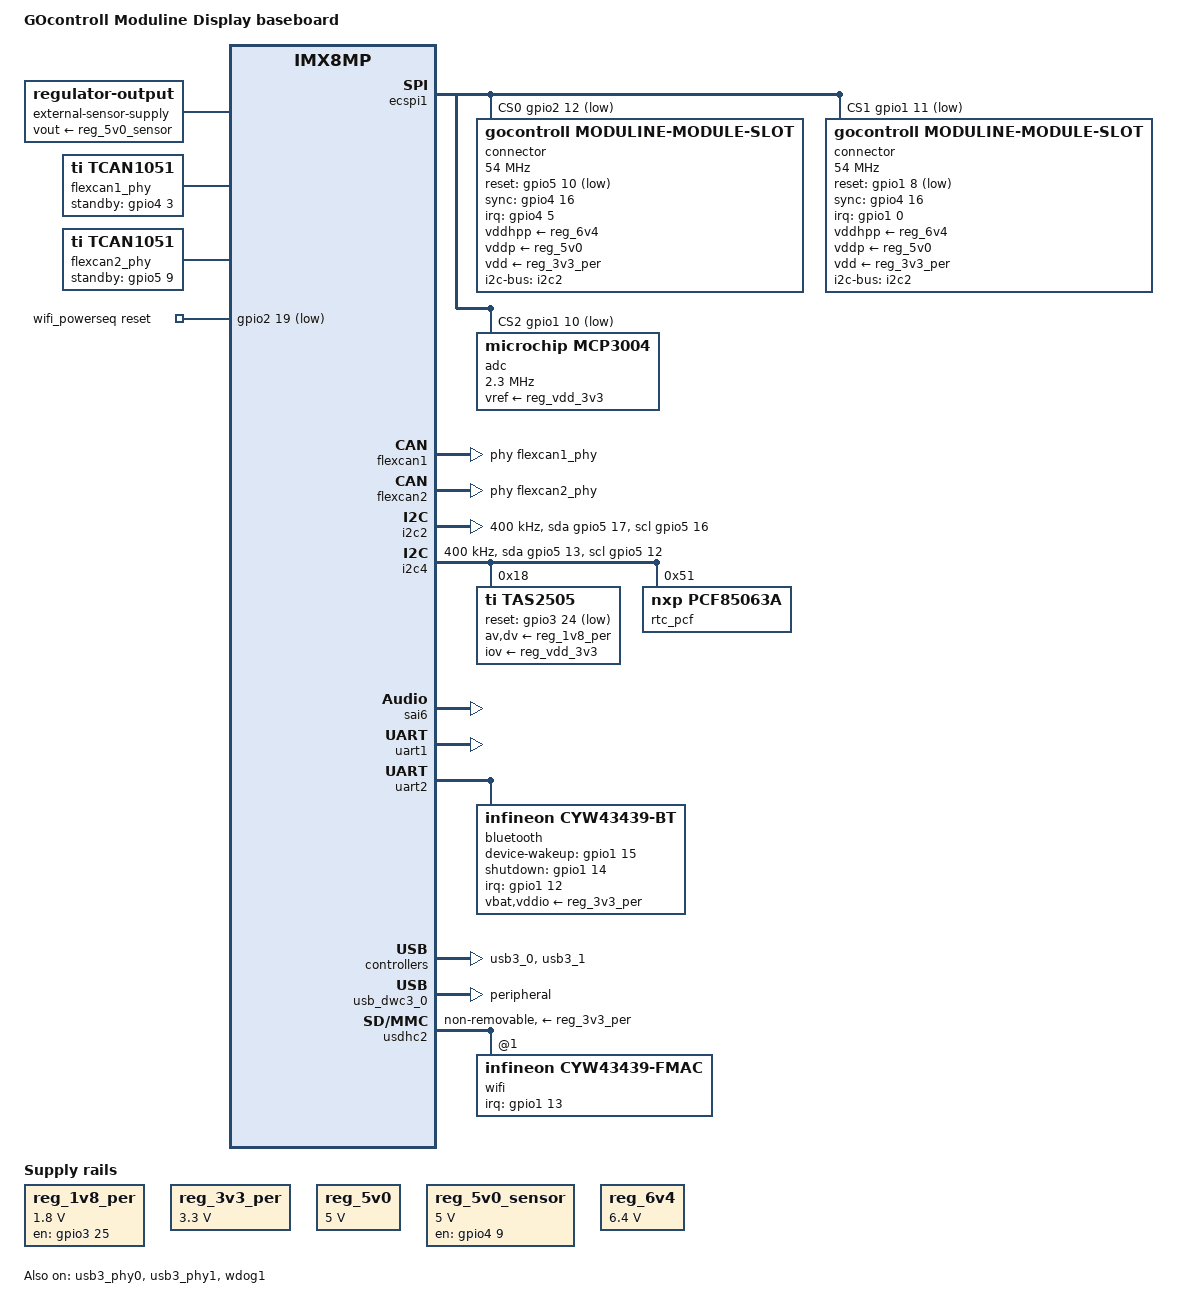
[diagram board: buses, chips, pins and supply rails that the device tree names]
// SPDX-License-Identifier: (GPL-2.0 OR MIT)
/*
 * Copyright 2025 GOcontroll B.V.
 * Author: Maud Spierings <maudspierings@gocontroll.com>
 */

/dts-v1/;

#include "imx8mp-tx8p-ml81.dtsi"

/ {
	compatible = "gocontroll,moduline-display", "fsl,imx8mp";
	chassis-type = "embedded";
	hardware = "Moduline Display V1.06";
	model = "GOcontroll Moduline Display baseboard";

	aliases {
		can0 = &flexcan1;
		can1 = &flexcan2;
		ethernet0 = &eqos;
		ethernet1 = &fec;
		mmc0 = &usdhc3;
		mmc1 = &usdhc2;
		rtc0 = &rtc_pcf; /* i2c rtc is the main rtc */
		rtc1 = &snvs_rtc;
		spi0 = &ecspi2; /* spidev number compatibility */
		spi1 = &ecspi1; /* spidev number compatibility */
	};

	chosen {
		stdout-path = "serial0:115200n8";
	};

	external-sensor-supply {
		compatible = "regulator-output";
		vout-supply = <&reg_5v0_sensor>;
	};

	flexcan1_phy: can-phy0 {
		compatible = "ti,tcan1051", "ti,tcan1042";
		#phy-cells = <0>;
		pinctrl-0 = <&pinctrl_flexcan1_stby>;
		pinctrl-names = "default";
		max-bitrate = <5000000>;
		standby-gpios = <&gpio4 3 GPIO_ACTIVE_HIGH>;
	};

	flexcan2_phy: can-phy1 {
		compatible = "ti,tcan1051", "ti,tcan1042";
		#phy-cells = <0>;
		pinctrl-0 = <&pinctrl_flexcan2_stby>;
		pinctrl-names = "default";
		max-bitrate = <5000000>;
		standby-gpios = <&gpio5 9 GPIO_ACTIVE_HIGH>;
	};

	reg_1v8_per: regulator-1v8-per {
		compatible = "regulator-fixed";
		pinctrl-0 = <&pinctrl_reg_1v8>;
		pinctrl-names = "default";
		power-supply = <&reg_3v3_per>;
		regulator-max-microvolt = <1800000>;
		regulator-min-microvolt = <1800000>;
		regulator-name = "1v8-per";
		gpio = <&gpio3 25 GPIO_ACTIVE_HIGH>;
		enable-active-high;
	};

	reg_3v3_per: regulator-3v3-per {
		compatible = "regulator-fixed";
		power-supply = <&reg_6v4>;
		regulator-always-on;
		regulator-max-microvolt = <3300000>;
		regulator-min-microvolt = <3300000>;
		regulator-name = "3v3-per";
	};

	reg_5v0: regulator-5v0 {
		compatible = "regulator-fixed";
		power-supply = <&reg_6v4>;
		regulator-always-on;
		regulator-max-microvolt = <5000000>;
		regulator-min-microvolt = <5000000>;
		regulator-name = "5v0";
	};

	reg_5v0_sensor: regulator-5v0-sensor {
		compatible = "regulator-fixed";
		pinctrl-0 = <&pinctrl_reg_5v0_sensor>;
		pinctrl-names = "default";
		regulator-max-microvolt = <5000000>;
		regulator-min-microvolt = <5000000>;
		regulator-name = "5v0-supply-external-sensor";
		gpio = <&gpio4 9 GPIO_ACTIVE_HIGH>;
		enable-active-high;
	};

	reg_6v4: regulator-6v4 {
		compatible = "regulator-fixed";
		regulator-always-on;
		regulator-max-microvolt = <6400000>;
		regulator-min-microvolt = <6400000>;
		regulator-name = "6v4";
	};

	sound {
		compatible = "simple-audio-card";
		simple-audio-card,bitclock-master = <&cpudai>;
		simple-audio-card,format = "i2s";
		simple-audio-card,frame-master = <&cpudai>;
		simple-audio-card,name = "tas2505-audio";
		simple-audio-card,routing = "Speaker", "DAC";
		simple-audio-card,widgets = "Speaker", "Speaker External";

		simple-audio-card,codec {
			sound-dai = <&tas2505>;
		};

		cpudai: simple-audio-card,cpu {
			sound-dai = <&sai6>;
		};
	};

	wifi_powerseq: wifi-powerseq {
		compatible = "mmc-pwrseq-simple";
		pinctrl-0 = <&pinctrl_wl_reg>;
		pinctrl-names = "default";
		post-power-on-delay-ms = <100>;
		power-off-delay-us = <500000>;
		reset-gpios = <&gpio2 19 GPIO_ACTIVE_LOW>;
	};
};

&ecspi1 {
	cs-gpios = <&gpio2 12 GPIO_ACTIVE_LOW>,
		   <&gpio1 11 GPIO_ACTIVE_LOW>,
		   <&gpio1 10 GPIO_ACTIVE_LOW>;
	pinctrl-0 = <&pinctrl_ecspi1>;
	pinctrl-names = "default";
	status = "okay";

	connector@0 {
		compatible = "gocontroll,moduline-module-slot";
		reg = <0>;
		interrupt-parent = <&gpio4>;
		interrupts = <5 IRQ_TYPE_EDGE_FALLING>;
		i2c-bus = <&i2c2>;
		reset-gpios = <&gpio5 10 GPIO_ACTIVE_LOW>;
		slot-number = <1>;
		spi-max-frequency = <54000000>;
		sync-gpios = <&gpio4 16 GPIO_ACTIVE_HIGH>;
		vddhpp-supply = <&reg_6v4>;
		vddp-supply = <&reg_5v0>;
		vdd-supply = <&reg_3v3_per>;
	};

	connector@1 {
		compatible = "gocontroll,moduline-module-slot";
		reg = <1>;
		interrupt-parent = <&gpio1>;
		interrupts = <0 IRQ_TYPE_EDGE_FALLING>;
		i2c-bus = <&i2c2>;
		reset-gpios = <&gpio1 8 GPIO_ACTIVE_LOW>;
		slot-number = <2>;
		spi-max-frequency = <54000000>;
		sync-gpios = <&gpio4 16 GPIO_ACTIVE_HIGH>;
		vddhpp-supply = <&reg_6v4>;
		vddp-supply = <&reg_5v0>;
		vdd-supply = <&reg_3v3_per>;
	};

	adc@2 {
		compatible = "microchip,mcp3004";
		reg = <2>;
		spi-max-frequency = <2300000>;
		vref-supply = <&reg_vdd_3v3>;
	};
};

&flexcan1 {
	phys = <&flexcan1_phy>;
	pinctrl-0 = <&pinctrl_flexcan1>;
	pinctrl-names = "default";
	status = "okay";
};

&flexcan2 {
	phys = <&flexcan2_phy>;
	pinctrl-0 = <&pinctrl_flexcan2>;
	pinctrl-names = "default";
	status = "okay";
};

&i2c2 {
	clock-frequency = <400000>;
	pinctrl-0 = <&pinctrl_i2c2>;
	pinctrl-1 = <&pinctrl_i2c2_gpio>;
	pinctrl-names = "default", "gpio";
	scl-gpios = <&gpio5 16 (GPIO_ACTIVE_HIGH | GPIO_OPEN_DRAIN)>;
	sda-gpios = <&gpio5 17 (GPIO_ACTIVE_HIGH | GPIO_OPEN_DRAIN)>;
	status = "okay";
};

&i2c4 {
	clock-frequency = <400000>;
	pinctrl-0 = <&pinctrl_i2c4>;
	pinctrl-1 = <&pinctrl_i2c4_gpio>;
	pinctrl-names = "default", "gpio";
	scl-gpios = <&gpio5 12 (GPIO_ACTIVE_HIGH | GPIO_OPEN_DRAIN)>;
	sda-gpios = <&gpio5 13 (GPIO_ACTIVE_HIGH | GPIO_OPEN_DRAIN)>;
	status = "okay";

	tas2505: audio-codec@18 {
		compatible = "ti,tas2505";
		reg = <0x18>;
		clocks = <&clk IMX8MP_CLK_AUDIOMIX_SAI6_MCLK1>;
		clock-names = "mclk";
		#sound-dai-cells = <0>;
		aic32x4-gpio-func = <0xff 0xff 0xff 0xff 0xff>;
		av-supply = <&reg_1v8_per>;
		dv-supply = <&reg_1v8_per>;
		iov-supply = <&reg_vdd_3v3>;
		pinctrl-0 = <&pinctrl_tas_reset>;
		pinctrl-names = "default";
		reset-gpios = <&gpio3 24 GPIO_ACTIVE_LOW>;
	};

	rtc_pcf: rtc@51 {
		compatible = "nxp,pcf85063a";
		reg = <0x51>;
		quartz-load-femtofarads = <7000>;

		clock {
			compatible = "fixed-clock";
			#clock-cells = <0>;
			clock-frequency = <32768>;
		};
	};
};

&iomuxc {
	pinctrl_bt: btgrp {
		fsl,pins = <
			MX8MP_IOMUXC_GPIO1_IO14__GPIO1_IO14
				MX8MP_DSE_X1
			MX8MP_IOMUXC_GPIO1_IO12__GPIO1_IO12
				(MX8MP_PULL_UP | MX8MP_PULL_ENABLE | MX8MP_HYS_SCHMITT)
			MX8MP_IOMUXC_GPIO1_IO15__GPIO1_IO15
				MX8MP_DSE_X1
		>;
	};

	pinctrl_ecspi1: ecspi1grp {
		fsl,pins = <
			MX8MP_IOMUXC_ECSPI1_MOSI__ECSPI1_MOSI
				MX8MP_DSE_X4
			MX8MP_IOMUXC_ECSPI1_MISO__ECSPI1_MISO
				(MX8MP_DSE_X4 | MX8MP_HYS_SCHMITT)
			MX8MP_IOMUXC_ECSPI1_SCLK__ECSPI1_SCLK
				MX8MP_DSE_X4
			MX8MP_IOMUXC_SD2_CD_B__GPIO2_IO12
				MX8MP_DSE_X1
			MX8MP_IOMUXC_GPIO1_IO11__GPIO1_IO11
				MX8MP_DSE_X1
			MX8MP_IOMUXC_GPIO1_IO10__GPIO1_IO10
				MX8MP_DSE_X1
		>;
	};

	pinctrl_flexcan1: flexcan1grp {
		fsl,pins = <
			 MX8MP_IOMUXC_SPDIF_RX__CAN1_RX
				 (MX8MP_DSE_X2 | MX8MP_FSEL_FAST | MX8MP_PULL_UP | MX8MP_PULL_ENABLE)
			 MX8MP_IOMUXC_SPDIF_TX__CAN1_TX
				 (MX8MP_DSE_X2 | MX8MP_FSEL_FAST | MX8MP_PULL_UP | MX8MP_PULL_ENABLE)
		>;
	};

	pinctrl_flexcan1_stby: flexcan1stbygrp {
		fsl,pins = <
			MX8MP_IOMUXC_SAI1_RXD1__GPIO4_IO03
				(MX8MP_DSE_X2 | MX8MP_FSEL_FAST | MX8MP_PULL_UP | MX8MP_PULL_ENABLE)
		>;
	};

	pinctrl_flexcan2: flexcan2grp {
		fsl,pins = <
			MX8MP_IOMUXC_UART3_TXD__CAN2_RX
				(MX8MP_DSE_X2 | MX8MP_FSEL_FAST | MX8MP_PULL_UP | MX8MP_PULL_ENABLE)
			MX8MP_IOMUXC_UART3_RXD__CAN2_TX
				(MX8MP_DSE_X2 | MX8MP_FSEL_FAST | MX8MP_PULL_UP | MX8MP_PULL_ENABLE)
		>;
	};

	pinctrl_flexcan2_stby: flexcan2stbygrp {
		fsl,pins = <
			MX8MP_IOMUXC_ECSPI1_SS0__GPIO5_IO09
				(MX8MP_DSE_X2 | MX8MP_FSEL_FAST | MX8MP_PULL_UP | MX8MP_PULL_ENABLE)
		>;
	};

	pinctrl_i2c2: i2c2grp {
		fsl,pins = <
			MX8MP_IOMUXC_I2C2_SCL__I2C2_SCL
				MX8MP_I2C_DEFAULT
			MX8MP_IOMUXC_I2C2_SDA__I2C2_SDA
				MX8MP_I2C_DEFAULT
		>;
	};

	pinctrl_i2c2_gpio: i2c2-gpiogrp {
		fsl,pins = <
			MX8MP_IOMUXC_I2C2_SCL__GPIO5_IO16
				MX8MP_I2C_DEFAULT
			MX8MP_IOMUXC_I2C2_SDA__GPIO5_IO17
				MX8MP_I2C_DEFAULT
		>;
	};

	pinctrl_i2c4: i2c4grp {
		fsl,pins = <
			MX8MP_IOMUXC_ECSPI2_MISO__I2C4_SCL
				MX8MP_I2C_DEFAULT
			MX8MP_IOMUXC_ECSPI2_SS0__I2C4_SDA
				MX8MP_I2C_DEFAULT
		>;
	};

	pinctrl_i2c4_gpio: i2c4-gpiogrp {
		fsl,pins = <
			MX8MP_IOMUXC_ECSPI2_MISO__GPIO5_IO12
				MX8MP_I2C_DEFAULT
			MX8MP_IOMUXC_ECSPI2_SS0__GPIO5_IO13
				MX8MP_I2C_DEFAULT
		>;
	};

	pinctrl_usdhc2: pinctrlusdhc2grp {
		fsl,pins = <
			MX8MP_IOMUXC_SD2_CLK__USDHC2_CLK
				(MX8MP_DSE_X2 | MX8MP_FSEL_FAST | MX8MP_PULL_ENABLE)
			MX8MP_IOMUXC_SD2_CMD__USDHC2_CMD
				(MX8MP_DSE_X2 | MX8MP_USDHC_DATA_DEFAULT)
			MX8MP_IOMUXC_SD2_DATA0__USDHC2_DATA0
				(MX8MP_DSE_X2 | MX8MP_USDHC_DATA_DEFAULT)
			MX8MP_IOMUXC_SD2_DATA1__USDHC2_DATA1
				(MX8MP_DSE_X2 | MX8MP_USDHC_DATA_DEFAULT)
			MX8MP_IOMUXC_SD2_DATA2__USDHC2_DATA2
				(MX8MP_DSE_X2 | MX8MP_USDHC_DATA_DEFAULT)
			MX8MP_IOMUXC_SD2_DATA3__USDHC2_DATA3
				(MX8MP_DSE_X2 | MX8MP_USDHC_DATA_DEFAULT)
		>;
	};

	pinctrl_reg_1v8: reg-1v8-grp {
		fsl,pins = <
			MX8MP_IOMUXC_SAI5_MCLK__GPIO3_IO25
				MX8MP_DSE_X1
		>;
	};

	pinctrl_reg_5v0_sensor: reg-5v0-sensorgrp {
		fsl,pins = <
			MX8MP_IOMUXC_SAI1_RXD7__GPIO4_IO09
				MX8MP_DSE_X1
		>;
	};

	pinctrl_sai6: sai6grp {
		fsl,pins = <
			MX8MP_IOMUXC_SAI1_TXD6__AUDIOMIX_SAI6_TX_SYNC
				(MX8MP_DSE_X6 | MX8MP_FSEL_FAST | MX8MP_HYS_SCHMITT)
			MX8MP_IOMUXC_SAI1_RXD4__AUDIOMIX_SAI6_TX_BCLK
				(MX8MP_DSE_X6 | MX8MP_FSEL_FAST | MX8MP_HYS_SCHMITT)
			MX8MP_IOMUXC_SAI1_TXD5__AUDIOMIX_SAI6_TX_DATA00
				(MX8MP_DSE_X6 | MX8MP_FSEL_FAST | MX8MP_HYS_SCHMITT)
			MX8MP_IOMUXC_SAI1_TXD7__AUDIOMIX_SAI6_MCLK
				(MX8MP_DSE_X6 | MX8MP_FSEL_FAST | MX8MP_HYS_SCHMITT)
			MX8MP_IOMUXC_SAI1_RXD5__AUDIOMIX_SAI6_RX_DATA00
				(MX8MP_DSE_X6 | MX8MP_FSEL_FAST | MX8MP_HYS_SCHMITT)
		>;
	};

	pinctrl_tas_reset: tasresetgrp {
		fsl,pins = <
			MX8MP_IOMUXC_SAI5_RXD3__GPIO3_IO24
				MX8MP_DSE_X1
		>;
	};

	pinctrl_uart1: uart1grp {
		fsl,pins = <
			MX8MP_IOMUXC_UART1_RXD__UART1_DCE_RX
				(MX8MP_PULL_UP | MX8MP_PULL_ENABLE)
			MX8MP_IOMUXC_UART1_TXD__UART1_DCE_TX
				(MX8MP_PULL_UP | MX8MP_PULL_ENABLE)
		>;
	};

	pinctrl_uart2: uart2grp {
		fsl,pins = <
			MX8MP_IOMUXC_UART2_RXD__UART2_DCE_RX
				(MX8MP_PULL_UP | MX8MP_PULL_ENABLE)
			MX8MP_IOMUXC_UART2_TXD__UART2_DCE_TX
				(MX8MP_PULL_UP | MX8MP_PULL_ENABLE)
			MX8MP_IOMUXC_SAI3_RXD__UART2_DCE_RTS
				(MX8MP_PULL_UP | MX8MP_PULL_ENABLE)
			MX8MP_IOMUXC_SAI3_RXC__UART2_DCE_CTS
				(MX8MP_PULL_UP | MX8MP_PULL_ENABLE)
		>;
	};

	pinctrl_wdog: wdoggrp {
		fsl,pins = <
			MX8MP_IOMUXC_GPIO1_IO02__WDOG1_WDOG_B
				(MX8MP_DSE_X6 | MX8MP_HYS_SCHMITT)
		>;
	};

	pinctrl_wl_int: wlintgrp {
		fsl,pins = <
			MX8MP_IOMUXC_GPIO1_IO13__GPIO1_IO13
				(MX8MP_PULL_UP | MX8MP_HYS_SCHMITT | MX8MP_PULL_ENABLE)
		>;
	};

	pinctrl_wl_reg: wlreggrp {
		fsl,pins = <
			MX8MP_IOMUXC_SD2_RESET_B__GPIO2_IO19
				MX8MP_DSE_X1
		>;
	};
};

&sai6 {
	assigned-clocks = <&clk IMX8MP_CLK_SAI6>;
	assigned-clock-parents = <&clk IMX8MP_AUDIO_PLL1_OUT>;
	assigned-clock-rates = <12288000>;
	pinctrl-0 = <&pinctrl_sai6>;
	pinctrl-names = "default";
	fsl,sai-mclk-direction-output;
	status = "okay";
};

&uart1 {
	pinctrl-0 = <&pinctrl_uart1>;
	pinctrl-names = "default";
	status = "okay";
};

&uart2 {
	pinctrl-0 = <&pinctrl_uart2>;
	pinctrl-names = "default";
	uart-has-rtscts;
	status = "okay";

	bluetooth {
		compatible = "infineon,cyw43439-bt", "brcm,bcm4329-bt";
		interrupt-parent = <&gpio1>;
		interrupts = <12 IRQ_TYPE_EDGE_FALLING>;
		interrupt-names = "host-wakeup";
		device-wakeup-gpios = <&gpio1 15 GPIO_ACTIVE_HIGH>;
		max-speed = <921600>;
		pinctrl-0 = <&pinctrl_bt>;
		pinctrl-names = "default";
		shutdown-gpios = <&gpio1 14 GPIO_ACTIVE_HIGH>;
		vbat-supply = <&reg_3v3_per>;
		vddio-supply = <&reg_3v3_per>;
	};
};

&usb3_0 {
	status = "okay";
};

&usb3_1 {
	status = "okay";
};

&usb3_phy0 {
	status = "okay";
};

&usb3_phy1 {
	status = "okay";
};

&usb_dwc3_0 {
	dr_mode = "peripheral";
};

&usdhc2 {
	#address-cells = <1>;
	#size-cells = <0>;
	assigned-clocks = <&clk IMX8MP_CLK_USDHC2>;
	assigned-clock-rates = <50000000>;
	cap-power-off-card;
	keep-power-in-suspend;
	max-frequency = <50000000>;
	mmc-pwrseq = <&wifi_powerseq>;
	non-removable;
	pinctrl-0 = <&pinctrl_usdhc2>;
	pinctrl-names = "default";
	sd-uhs-sdr25;
	vmmc-supply = <&reg_3v3_per>;
	status = "okay";

	wifi@1 {
		compatible = "infineon,cyw43439-fmac", "brcm,bcm4329-fmac";
		reg = <1>;
		interrupt-parent = <&gpio1>;
		interrupts = <13 IRQ_TYPE_LEVEL_LOW>;
		interrupt-names = "host-wake";
		pinctrl-0 = <&pinctrl_wl_int>;
		pinctrl-names = "default";
		brcm,board-type = "GOcontroll,moduline";
	};
};

&wdog1 {
	pinctrl-0 = <&pinctrl_wdog>;
	pinctrl-names = "default";
	fsl,ext-reset-output;
	status = "okay";
};
